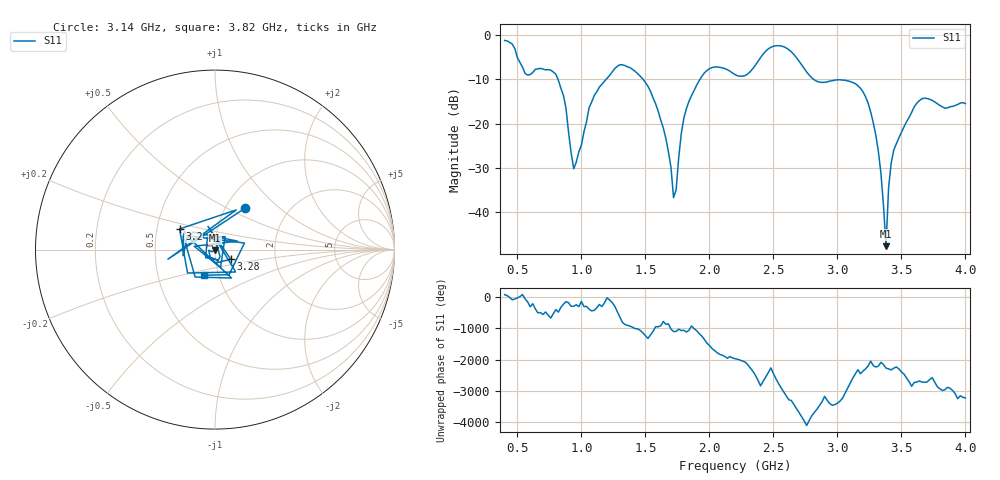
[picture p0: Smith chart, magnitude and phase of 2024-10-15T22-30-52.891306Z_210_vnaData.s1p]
! Created with skrf (http://scikit-rf.org).
# Hz S RI R 50.0
!freq ReS11 ImS11
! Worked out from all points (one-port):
!   181 points, 400 MHz to 4 GHz, reference 50 ohm
!   lowest |S11| = -47.7 dB at 3.38 GHz (marker M1), VSWR 1.01, Z = 49.8 - j0.365 ohm
!   |S11| at or under -10 dB: 816.9 MHz to 1.193 GHz (375.6 MHz wide, 37.4 % of centre); 1.482 GHz to 1.926 GHz (444.3 MHz wide, 26.1 % of centre); 2.815 GHz to end of sweep
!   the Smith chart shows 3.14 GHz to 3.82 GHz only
!   S11 on the Smith chart (normalised r, x): 3.14 GHz: 1.23, +0.61; 3.2 GHz: 0.66, +0.16; 3.28 GHz: 1.18, -0.13; 3.82 GHz: 0.85, -0.25
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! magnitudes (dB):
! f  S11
! 400 MHz  -1.2
! 800 MHz  -8.8
! 860 MHz  -13.7
! 940 MHz  -30.2
! 1.1 GHz  -13.7
! 1.3 GHz  -6.7
! 1.58 GHz  -15.5
! 1.68 GHz  -26.4
! 1.72 GHz  -36.8
! 1.76 GHz  -27.8
! 1.82 GHz  -16.7
! 1.94 GHz  -9.4
! 2.2 GHz  -8.9
! 2.5 GHz  -2.5
! 2.66 GHz  -4.4
! 2.84 GHz  -10.5
! 3.1 GHz  -10.5
! 3.14 GHz  -11.0
! 3.2 GHz  -12.8
! 3.28 GHz  -19.8
! 3.34 GHz  -31.2
! 3.38 GHz  -47.7
! 3.4 GHz  -34.5
! 3.42 GHz  -29.0
! 3.56 GHz  -18.6
! 3.66 GHz  -14.4
! 3.82 GHz  -16.2
! 4 GHz  -15.5
